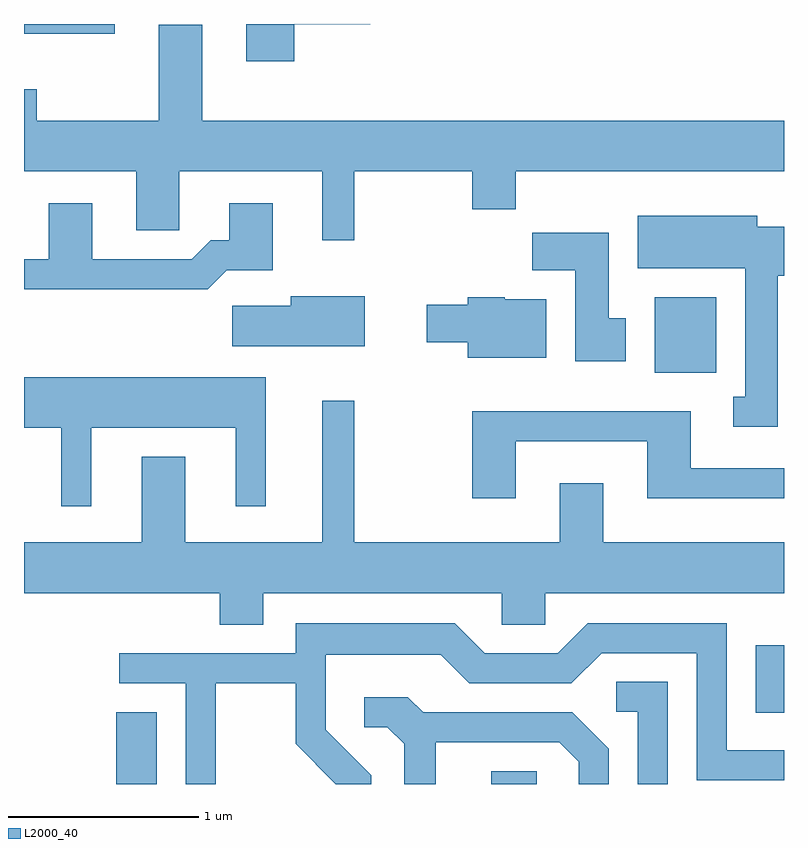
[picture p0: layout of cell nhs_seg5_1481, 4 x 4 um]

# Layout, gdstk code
import gdstk
lib = gdstk.Library(unit=1e-6, precision=1e-09)
def R(c, l, rs):  # rectangles x0, y0, x1, y1
    for r in rs: c.add(gdstk.rectangle(r[:2], r[2:], *l))
def P(c, l, *ps):  # polygons
    for p in ps: c.add(gdstk.Polygon(p, *l))
L2000_40 = (2000, 40)

nhs_seg5_1481 = lib.new_cell('nhs_seg5_1481')
R(nhs_seg5_1481, L2000_40, [(230.096,1398.072,230.309,1398.449), (232.071,1398.072,232.309,1398.139), (233.461,1398.446,233.611,1398.803), (232.931,1400.236,233.254,1400.634), (229.611,1402.021,230.089,1402.072)])
P(nhs_seg5_1481, L2000_40, [(231.034,1402.071),(231.434,1402.071),(231.434,1402.072),(230.781,1402.072),(230.781,1401.876),(231.034,1401.876)],
  [(231.349,1401.296),(231.971,1401.296),(231.971,1401.096),(232.199,1401.096),(232.199,1401.296),(233.611,1401.296),(233.611,1401.564),(230.549,1401.564),(230.549,1402.069),(230.321,1402.069),(230.321,1401.564),(229.679,1401.564),(229.679,1401.729),(229.611,1401.729),(229.611,1401.296),(230.201,1401.296),(230.201,1400.986),(230.429,1400.986),(230.429,1401.296),(231.181,1401.296),(231.181,1400.933),(231.349,1400.933)],
  [(230.677,1400.776),(230.919,1400.776),(230.919,1401.129),(230.691,1401.129),(230.691,1400.934),(230.594,1400.934),(230.494,1400.834),(229.969,1400.834),(229.969,1401.129),(229.741,1401.129),(229.741,1400.834),(229.611,1400.834),(229.611,1400.676),(230.577,1400.676)],
  [(233.579,1400.746),(233.611,1400.746),(233.611,1401.004),(233.469,1401.004),(233.469,1401.064),(232.841,1401.064),(232.841,1400.786),(233.406,1400.786),(233.406,1400.109),(233.343,1400.109),(233.343,1399.951),(233.579,1399.951)],
  [(232.779,1400.524),(232.689,1400.524),(232.689,1400.974),(232.286,1400.974),(232.286,1400.776),(232.511,1400.776),(232.511,1400.296),(232.779,1400.296)],
  [(231.404,1400.639),(231.016,1400.639),(231.016,1400.589),(230.706,1400.589),(230.706,1400.376),(231.404,1400.376)],
  [(232.359,1400.624),(232.14,1400.624),(232.14,1400.634),(231.946,1400.634),(231.946,1400.594),(231.731,1400.594),(231.731,1400.396),(231.946,1400.396),(231.946,1400.316),(232.359,1400.316)],
  [(229.964,1399.946),(230.726,1399.946),(230.726,1399.533),(230.884,1399.533),(230.884,1400.214),(229.611,1400.214),(229.611,1399.946),(229.806,1399.946),(229.806,1399.533),(229.964,1399.533)],
  [(230.869,1399.076),(232.126,1399.076),(232.126,1398.911),(232.354,1398.911),(232.354,1399.076),(233.611,1399.076),(233.611,1399.344),(232.659,1399.344),(232.659,1399.654),(232.431,1399.654),(232.431,1399.344),(231.349,1399.344),(231.349,1400.088),(231.181,1400.088),(231.181,1399.344),(230.459,1399.344),(230.459,1399.794),(230.231,1399.794),(230.231,1399.344),(229.611,1399.344),(229.611,1399.076),(230.641,1399.076),(230.641,1398.911),(230.869,1398.911)],
  [(232.199,1399.876),(232.891,1399.876),(232.891,1399.576),(233.611,1399.576),(233.611,1399.734),(233.119,1399.734),(233.119,1400.034),(231.971,1400.034),(231.971,1399.576),(232.199,1399.576)],
  [(230.619,1398.601),(231.041,1398.601),(231.041,1398.284),(231.253,1398.072),(231.439,1398.072),(231.439,1398.117),(231.199,1398.357),(231.199,1398.751),(231.804,1398.751),(231.954,1398.601),(232.492,1398.601),(232.652,1398.761),(233.151,1398.761),(233.151,1398.091),(233.611,1398.091),(233.611,1398.249),(233.309,1398.249),(233.309,1398.919),(232.579,1398.919),(232.419,1398.759),(232.037,1398.759),(231.877,1398.919),(231.041,1398.919),(231.041,1398.759),(230.113,1398.759),(230.113,1398.601),(230.461,1398.601),(230.461,1398.072),(230.619,1398.072)],
  [(232.999,1398.609),(232.728,1398.609),(232.728,1398.451),(232.841,1398.451),(232.841,1398.072),(232.999,1398.072)],
  [(231.779,1398.291),(232.429,1398.291),(232.531,1398.189),(232.531,1398.072),(232.689,1398.072),(232.689,1398.257),(232.497,1398.449),(231.712,1398.449),(231.632,1398.529),(231.403,1398.529),(231.403,1398.371),(231.524,1398.371),(231.611,1398.284),(231.611,1398.072),(231.779,1398.072)])

lib.write_gds('nhs_seg5_1481.gds')
